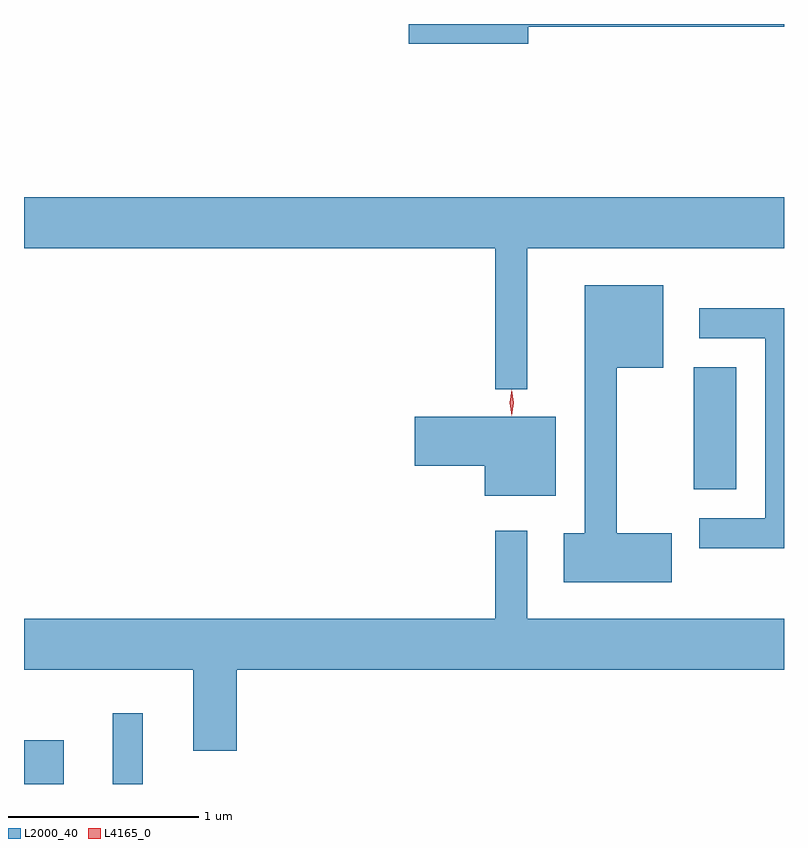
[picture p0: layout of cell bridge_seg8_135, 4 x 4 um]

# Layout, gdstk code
import gdstk
lib = gdstk.Library(unit=1e-6, precision=1e-09)
def R(c, l, rs):  # rectangles x0, y0, x1, y1
    for r in rs: c.add(gdstk.rectangle(r[:2], r[2:], *l))
def P(c, l, *ps):  # polygons
    for p in ps: c.add(gdstk.Polygon(p, *l))
L2000_40 = (2000, 40)
L4165_0 = (4165, 0)

bridge_seg8_135 = lib.new_cell('bridge_seg8_135')
R(bridge_seg8_135, L2000_40, [(1788.7,1818.055,1788.909,1818.284), (1789.166,1818.055,1789.324,1818.428), (1792.226,1819.606,1792.449,1820.249)])
P(bridge_seg8_135, L2000_40, [(1791.354,1822.041),(1792.7,1822.041),(1792.7,1822.055),(1790.726,1822.055),(1790.726,1821.951),(1791.354,1821.951)],
  [(1791.349,1820.876),(1792.7,1820.876),(1792.7,1821.144),(1788.7,1821.144),(1788.7,1820.876),(1791.181,1820.876),(1791.181,1820.133),(1791.349,1820.133)],
  [(1792.109,1819.374),(1791.819,1819.374),(1791.819,1820.246),(1792.064,1820.246),(1792.064,1820.679),(1791.651,1820.679),(1791.651,1819.374),(1791.541,1819.374),(1791.541,1819.116),(1792.109,1819.116)],
  [(1792.7,1820.559),(1792.253,1820.559),(1792.253,1820.401),(1792.601,1820.401),(1792.601,1819.454),(1792.253,1819.454),(1792.253,1819.296),(1792.7,1819.296)],
  [(1791.499,1819.989),(1790.756,1819.989),(1790.756,1819.731),(1791.126,1819.731),(1791.126,1819.571),(1791.499,1819.571)],
  [(1789.819,1818.656),(1792.7,1818.656),(1792.7,1818.924),(1791.349,1818.924),(1791.349,1819.388),(1791.181,1819.388),(1791.181,1818.924),(1788.7,1818.924),(1788.7,1818.656),(1789.591,1818.656),(1789.591,1818.231),(1789.819,1818.231)])
P(bridge_seg8_135, L4165_0, [(1791.267,1820),(1791.267,1820),(1791.257,1820.063),(1791.266,1820.126),(1791.267,1820.127),(1791.267,1820.126),(1791.277,1820.063),(1791.268,1820)],
  [(1791.267,1819.994),(1791.267,1819.994),(1791.257,1820.062),(1791.266,1820.13),(1791.267,1820.13),(1791.267,1820.13),(1791.277,1820.062),(1791.268,1819.994)])

lib.write_gds('bridge_seg8_135.gds')
